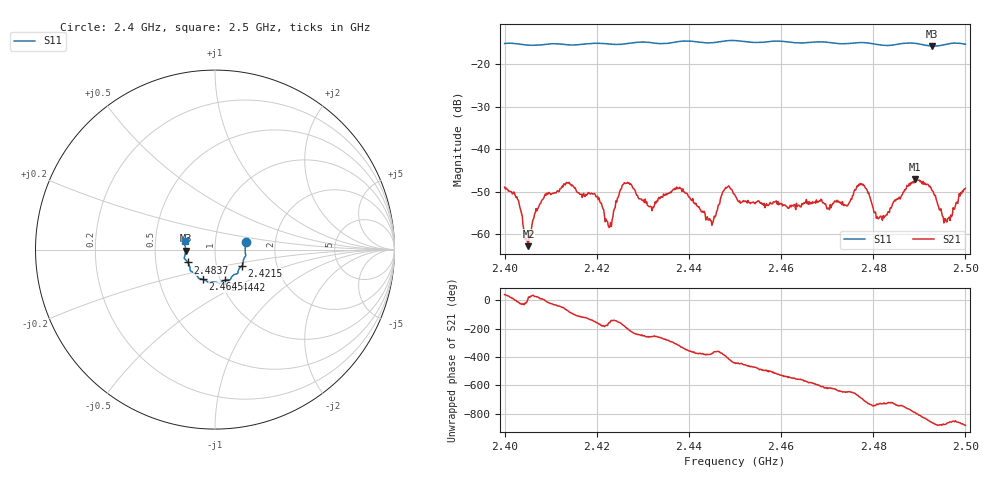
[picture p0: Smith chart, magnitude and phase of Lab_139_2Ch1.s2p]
# Hz S RI R 50
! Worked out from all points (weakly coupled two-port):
!   601 points, 2.4 GHz to 2.5 GHz, reference 50 ohm
!   highest |S21| = -47.03 dB at 2.489 GHz (marker M1); lowest = -62.8 dB at 2.4052 GHz (marker M2)
!   lowest |S11| = -15.7 dB at 2.4928 GHz (marker M3), VSWR 1.39, Z = 35.9 - j0.383 ohm
!   |S11| at or under -10 dB: start of sweep to end of sweep
!   S12 and S22 are empty: the file has one direction only
!   S11 on the Smith chart (normalised r, x): 2.4 GHz: 1.41, +0.12; 2.4215 GHz: 1.33, -0.25; 2.4442 GHz: 1.05, -0.37; 2.4645 GHz: 0.83, -0.29; 2.4837 GHz: 0.73, -0.11; 2.5 GHz: 0.71, +0.07
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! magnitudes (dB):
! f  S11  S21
! 2.4 GHz  -15.1  -48.9
! 2.4025 GHz  -15.1  -51.4
! 2.4052 GHz  -15.5  -62.8
! 2.4092 GHz  -15.3  -50.3
! 2.4167 GHz  -15.3  -50.6
! 2.4215 GHz  -15.1  -54.2
! 2.423 GHz  -15.2  -57.2
! 2.4265 GHz  -15.1  -48.0
! 2.4333 GHz  -15.1  -51.6
! 2.4378 GHz  -14.6  -49.2
! 2.4442 GHz  -15.0  -56.7
! 2.45 GHz  -14.4  -50.8
! 2.4645 GHz  -15.0  -52.8
! 2.4667 GHz  -14.8  -52.8
! 2.4773 GHz  -14.9  -48.3
! 2.4807 GHz  -15.3  -56.2
! 2.4833 GHz  -15.6  -54.8
! 2.4837 GHz  -15.5  -53.8
! 2.489 GHz  -15.1  -47.0
! 2.4928 GHz  -15.7  -49.8
! 2.4958 GHz  -15.3  -57.0
! 2.5 GHz  -15.3  -49.2
